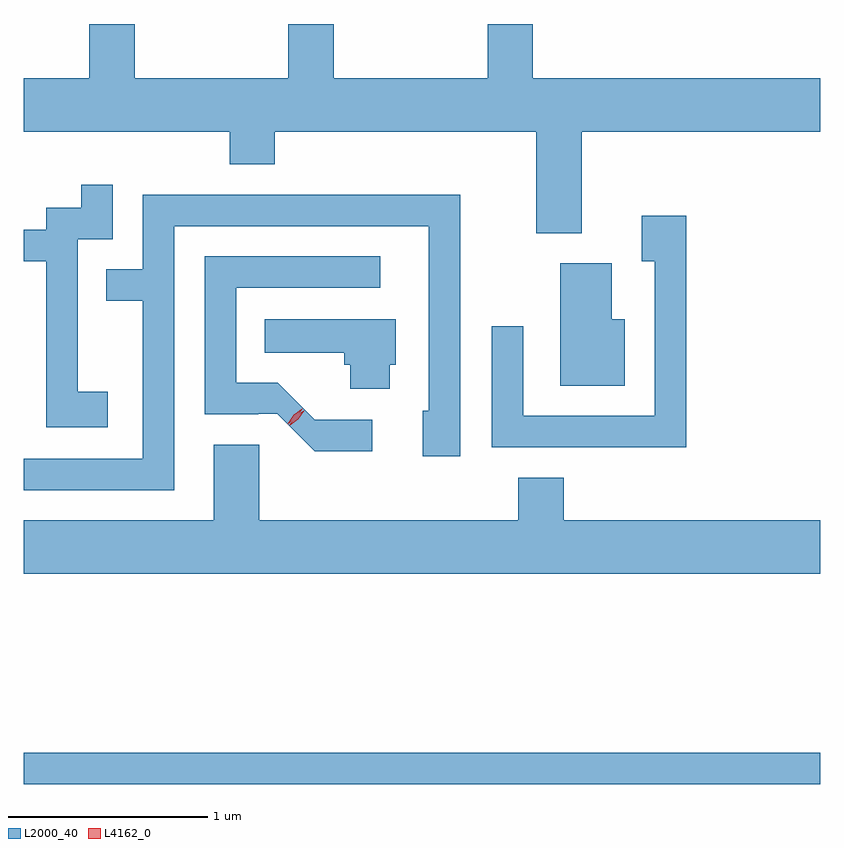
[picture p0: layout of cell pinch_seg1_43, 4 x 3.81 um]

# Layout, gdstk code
import gdstk
lib = gdstk.Library(unit=1e-6, precision=1e-09)
def R(c, l, rs):  # rectangles x0, y0, x1, y1
    for r in rs: c.add(gdstk.rectangle(r[:2], r[2:], *l))
def P(c, l, *ps):  # polygons
    for p in ps: c.add(gdstk.Polygon(p, *l))
L2000_40 = (2000, 40)
L4162_0 = (4162, 0)

pinch_seg1_43 = lib.new_cell('pinch_seg1_43')
R(pinch_seg1_43, L2000_40, [(1436.877,845.241,1440.877,845.399)])
P(pinch_seg1_43, L2000_40, [(1439.679,848.516),(1440.877,848.516),(1440.877,848.784),(1439.434,848.784),(1439.434,849.056),(1439.206,849.056),(1439.206,848.784),(1438.434,848.784),(1438.434,849.056),(1438.206,849.056),(1438.206,848.784),(1437.434,848.784),(1437.434,849.056),(1437.206,849.056),(1437.206,848.784),(1436.877,848.784),(1436.877,848.516),(1437.911,848.516),(1437.911,848.351),(1438.139,848.351),(1438.139,848.516),(1439.451,848.516),(1439.451,848.006),(1439.679,848.006)],
  [(1437.299,847.209),(1437.149,847.209),(1437.149,847.976),(1437.324,847.976),(1437.324,848.248),(1437.166,848.248),(1437.166,848.134),(1436.991,848.134),(1436.991,848.024),(1436.877,848.024),(1436.877,847.866),(1436.991,847.866),(1436.991,847.031),(1437.299,847.031)],
  [(1437.634,848.041),(1438.911,848.041),(1438.911,847.114),(1438.881,847.114),(1438.881,846.886),(1439.069,846.886),(1439.069,848.199),(1437.476,848.199),(1437.476,847.824),(1437.293,847.824),(1437.293,847.666),(1437.476,847.666),(1437.476,846.874),(1436.877,846.874),(1436.877,846.716),(1437.634,846.716)],
  [(1440.204,848.094),(1439.981,848.094),(1439.981,847.866),(1440.046,847.866),(1440.046,847.089),(1439.384,847.089),(1439.384,847.538),(1439.226,847.538),(1439.226,846.931),(1440.204,846.931)],
  [(1438.628,847.07),(1438.338,847.07),(1438.154,847.254),(1437.944,847.254),(1437.944,847.731),(1438.668,847.731),(1438.668,847.889),(1437.786,847.889),(1437.786,847.096),(1438.055,847.096),(1438.055,847.1),(1438.15,847.1),(1438.339,846.911),(1438.628,846.911)],
  [(1439.894,847.574),(1439.829,847.574),(1439.829,847.854),(1439.571,847.854),(1439.571,847.241),(1439.894,847.241)],
  [(1438.714,847.346),(1438.744,847.346),(1438.744,847.574),(1438.088,847.574),(1438.088,847.406),(1438.486,847.406),(1438.486,847.346),(1438.516,847.346),(1438.516,847.226),(1438.714,847.226)],
  [(1440.877,846.564),(1439.589,846.564),(1439.589,846.779),(1439.361,846.779),(1439.361,846.564),(1438.059,846.564),(1438.059,846.944),(1437.831,846.944),(1437.831,846.564),(1436.877,846.564),(1436.877,846.296),(1440.877,846.296)])
P(pinch_seg1_43, L4162_0, [(1438.214,847.043),(1438.214,847.044),(1438.242,847.086),(1438.284,847.115),(1438.285,847.115),(1438.285,847.115),(1438.257,847.072),(1438.215,847.043)],
  [(1438.202,847.048),(1438.202,847.049),(1438.234,847.095),(1438.278,847.128),(1438.279,847.128),(1438.279,847.127),(1438.248,847.081),(1438.203,847.048)])

lib.write_gds('pinch_seg1_43.gds')
